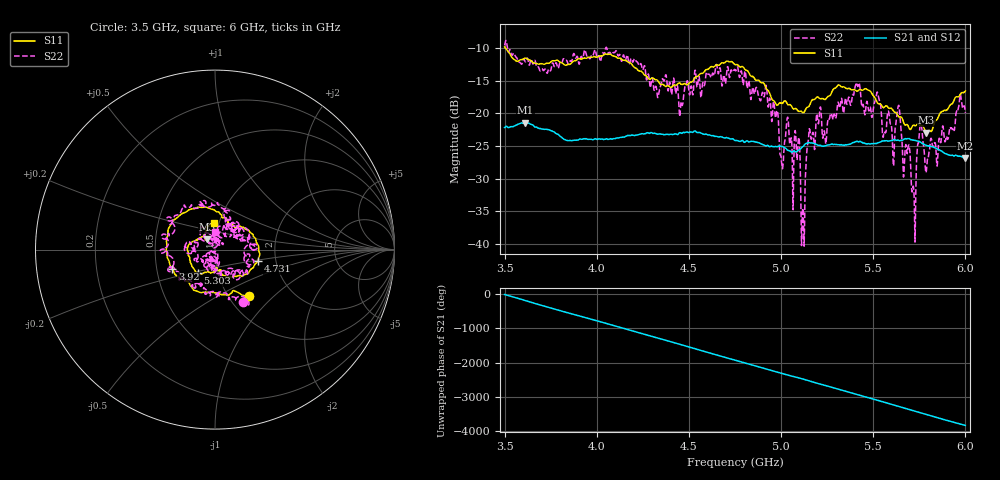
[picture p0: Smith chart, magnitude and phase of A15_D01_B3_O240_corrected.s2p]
! Created with skrf 1.9.0 (http://scikit-rf.org).
# Hz S RI R 50.0
!freq ReS11 ImS11 ReS21 ImS21 ReS12 ImS12 ReS22 ImS22
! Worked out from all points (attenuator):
!   1601 points, 3.5 GHz to 6 GHz, reference 50 ohm
!   highest |S21| = -21.43 dB at 3.612 GHz (marker M1); lowest = -26.8 dB at 5.998 GHz (marker M2)
!   lowest |S11| = -22.9 dB at 5.787 GHz (marker M3), VSWR 1.15, Z = 45.7 + j5.27 ohm
!   |S11| at or under -10 dB: 3.505 GHz to end of sweep
!   |S22| runs from -40.3 to -8.8 dB; largest |S21 - S12| = 0.0013
!   S11 on the Smith chart (normalised r, x): 3.5 GHz: 1.24, -0.72; 3.92 GHz: 0.60, -0.14; 4.731 GHz: 1.62, -0.22; 5.303 GHz: 0.80, -0.21; 6 GHz: 0.94, +0.29
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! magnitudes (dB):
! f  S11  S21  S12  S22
! 3.5 GHz  -9.8  -22.2  -22.2  -9.6
! 3.612 GHz  -11.5  -21.4  -21.4  -12.1
! 3.917 GHz  -11.7  -24.0  -24.0  -11.3
! 3.92 GHz  -11.7  -24.0  -24.0  -11.4
! 4.334 GHz  -15.1  -23.2  -23.1  -17.3
! 4.731 GHz  -12.1  -23.9  -23.9  -13.4
! 4.75 GHz  -12.5  -24.2  -24.1  -13.4
! 4.97 GHz  -18.5  -25.1  -25.0  -20.7
! 5.003 GHz  -18.5  -25.1  -25.1  -27.6
! 5.088 GHz  -19.5  -25.8  -25.8  -27.0
! 5.119 GHz  -19.9  -25.1  -25.1  -34.6
! 5.145 GHz  -19.1  -24.5  -24.5  -24.5
! 5.167 GHz  -18.0  -24.5  -24.5  -23.7
! 5.303 GHz  -15.9  -24.8  -24.8  -19.5
! 5.416 GHz  -16.6  -24.3  -24.4  -15.9
! 5.584 GHz  -19.2  -24.2  -24.2  -19.8
! 5.639 GHz  -20.5  -24.1  -24.2  -18.8
! 5.719 GHz  -21.8  -24.1  -24.1  -31.4
! 5.752 GHz  -21.7  -24.4  -24.3  -22.3
! 5.787 GHz  -22.9  -24.9  -24.9  -29.0
! 5.998 GHz  -16.6  -26.8  -26.8  -19.6
! 6 GHz  -16.6  -26.8  -26.8  -20.0
